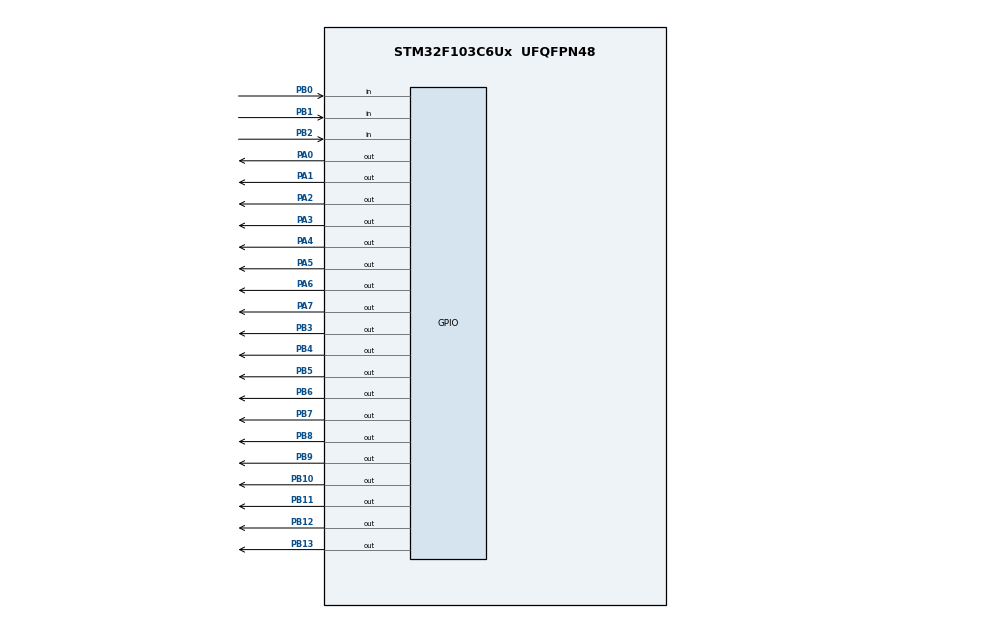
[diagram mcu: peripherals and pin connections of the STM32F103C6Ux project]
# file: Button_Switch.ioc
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Mcu.Family=STM32F1
Mcu.Name=STM32F103C6Ux
Mcu.Package=UFQFPN48
NVIC.PriorityGroup=NVIC_PRIORITYGROUP_4
NVIC.TIM2_IRQn=true\:0\:0\:false\:false\:true\:true\:true
PA0-WKUP.Signal=GPIO_Output
PA1.Signal=GPIO_Output
PA2.Signal=GPIO_Output
PA3.Signal=GPIO_Output
PA4.Signal=GPIO_Output
PA5.Signal=GPIO_Output
PA6.Signal=GPIO_Output
PA7.Signal=GPIO_Output
PB0.GPIO_PuPd=GPIO_PULLUP
PB0.Signal=GPIO_Input
PB1.GPIO_PuPd=GPIO_PULLUP
PB1.Signal=GPIO_Input
PB10.Signal=GPIO_Output
PB11.Signal=GPIO_Output
PB12.Signal=GPIO_Output
PB13.Signal=GPIO_Output
PB2.GPIO_PuPd=GPIO_PULLUP
PB2.Signal=GPIO_Input
PB3.Signal=GPIO_Output
PB4.Signal=GPIO_Output
PB5.Signal=GPIO_Output
PB6.Signal=GPIO_Output
PB7.Signal=GPIO_Output
PB8.Signal=GPIO_Output
PB9.Signal=GPIO_Output
ProjectManager.HeapSize=0x200
ProjectManager.StackSize=0x400
ProjectManager.TargetToolchain=STM32CubeIDE
RCC.APB1Freq_Value=8000000
RCC.APB2Freq_Value=8000000
TIM2.Period=9
TIM2.Prescaler=7999
VP_SYS_VS_ND.Mode=No_Debug
VP_TIM2_VS_ClockSourceINT.Mode=Internal
board=custom

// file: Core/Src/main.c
/* USER CODE BEGIN Header */
/**
  ******************************************************************************
  * @file           : main.c
  * @brief          : Main program body
  ******************************************************************************
  * @attention
  *
  * <h2><center>&copy; Copyright (c) 2026 STMicroelectronics.
  * All rights reserved.</center></h2>
  *
  * This software component is licensed by ST under BSD 3-Clause license,
  * the "License"; You may not use this file except in compliance with the
  * License. You may obtain a copy of the License at:
  *                        opensource.org/licenses/BSD-3-Clause
  *
  ******************************************************************************
  */
/* USER CODE END Header */
#include "main.h"

/* USER CODE BEGIN Includes */
#include "timer.h"
#include "input_processing.h"
#include "led_display.h"
/* USER CODE END Includes */

TIM_HandleTypeDef htim2;

void SystemClock_Config(void);
static void MX_GPIO_Init(void);
static void MX_TIM2_Init(void);

/* USER CODE BEGIN 0 */
int time_road1 = 5; // Ban đầu đường 1 đèn Đỏ (5s)
int time_road2 = 3; // Ban đầu đường 2 đèn Xanh (3s)
int status_road1 = 1; // 1: RED, 2: AMBER, 3: GREEN
int status_road2 = 3;
/* USER CODE END 0 */

int main(void)
{

  /* MCU Configuration--------------------------------------------------------*/

  /* Reset of all peripherals, Initializes the Flash interface and the Systick. */
  HAL_Init();

  /* Configure the system clock */
  SystemClock_Config();

  /* Initialize all configured peripherals */
  MX_GPIO_Init();
  MX_TIM2_Init();
  /* USER CODE BEGIN 2 */
  HAL_TIM_Base_Start_IT(&htim2);

    setTimer(0, 1000);
    setTimer(1, 250);
    setTimer(2, 50);
    int index_led = 0;
  /* USER CODE END 2 */

  /* Infinite loop */
  /* USER CODE BEGIN WHILE */
  while (1)
  {
	  fsm_for_input_processing();
	  	  	//Mode 1
	        if (system_mode == 1) {

	            led_buffer[0] = time_road1 / 10;
	            led_buffer[1] = time_road1 % 10;

	            led_buffer[2] = time_road2 / 10;
	            led_buffer[3] = time_road2 % 10;

	            if (timer_flag[0] == 1) {
	                setTimer(0, 1000);
	                time_road1--;
	                time_road2--;

	                if (time_road1 <= 0) {
	                    if (status_road1 == 1) { status_road1 = 3; time_road1 = green_duration; } // Đỏ -> Xanh
	                    else if (status_road1 == 3) { status_road1 = 2; time_road1 = amber_duration; } // Xanh -> Vàng
	                    else if (status_road1 == 2) { status_road1 = 1; time_road1 = red_duration; } // Vàng -> Đỏ
	                }
	                if (time_road2 <= 0) {
	                    if (status_road2 == 1) { status_road2 = 3; time_road2 = green_duration; }
	                    else if (status_road2 == 3) { status_road2 = 2; time_road2 = amber_duration; }
	                    else if (status_road2 == 2) { status_road2 = 1; time_road2 = red_duration; }
	                }

	                clearAllTrafficLights();
	                if (status_road1 == 1) HAL_GPIO_WritePin(GPIOA, GPIO_PIN_0, GPIO_PIN_SET);
	                if (status_road1 == 2) HAL_GPIO_WritePin(GPIOA, GPIO_PIN_1, GPIO_PIN_SET);
	                if (status_road1 == 3) HAL_GPIO_WritePin(GPIOA, GPIO_PIN_2, GPIO_PIN_SET);

	                if (status_road2 == 1) HAL_GPIO_WritePin(GPIOA, GPIO_PIN_3, GPIO_PIN_SET);
	                if (status_road2 == 2) HAL_GPIO_WritePin(GPIOA, GPIO_PIN_4, GPIO_PIN_SET);
	                if (status_road2 == 3) HAL_GPIO_WritePin(GPIOA, GPIO_PIN_5, GPIO_PIN_SET);
	            }
	        }
	        else {
	        	 //Mode 2
	             led_buffer[0] = 0;
	             led_buffer[1] = system_mode;

	             int display_val = 0;
	             if (system_mode == 2) display_val = temp_red;
	             if (system_mode == 3) display_val = temp_amber;
	             if (system_mode == 4) display_val = temp_green;

	             led_buffer[2] = display_val / 10;
	             led_buffer[3] = display_val % 10;

	             if (timer_flag[1] == 1) {
	                 setTimer(1, 250);
	                 if (system_mode == 2) toggleRedTrafficLights();
	                 if (system_mode == 3) toggleAmberTrafficLights();
	                 if (system_mode == 4) toggleGreenTrafficLights();
	             }
	        }
	        if (timer_flag[2] == 1) {
	            setTimer(2, 50);
	            update7SEG(index_led);
	            index_led++;
	            if (index_led > 3) index_led = 0;
	        }
    /* USER CODE END WHILE */

  }
}

void SystemClock_Config(void)
{
  RCC_OscInitTypeDef RCC_OscInitStruct = {0};
  RCC_ClkInitTypeDef RCC_ClkInitStruct = {0};

  /** Initializes the RCC Oscillators according to the specified parameters
  * in the RCC_OscInitTypeDef structure.
  */
  RCC_OscInitStruct.OscillatorType = RCC_OSCILLATORTYPE_HSI;
  RCC_OscInitStruct.HSIState = RCC_HSI_ON;
  RCC_OscInitStruct.HSICalibrationValue = RCC_HSICALIBRATION_DEFAULT;
  RCC_OscInitStruct.PLL.PLLState = RCC_PLL_NONE;
  if (HAL_RCC_OscConfig(&RCC_OscInitStruct) != HAL_OK)
  {
    Error_Handler();
  }
  /** Initializes the CPU, AHB and APB buses clocks
  */
  RCC_ClkInitStruct.ClockType = RCC_CLOCKTYPE_HCLK|RCC_CLOCKTYPE_SYSCLK
                              |RCC_CLOCKTYPE_PCLK1|RCC_CLOCKTYPE_PCLK2;
  RCC_ClkInitStruct.SYSCLKSource = RCC_SYSCLKSOURCE_HSI;
  RCC_ClkInitStruct.AHBCLKDivider = RCC_SYSCLK_DIV1;
  RCC_ClkInitStruct.APB1CLKDivider = RCC_HCLK_DIV1;
  RCC_ClkInitStruct.APB2CLKDivider = RCC_HCLK_DIV1;

  if (HAL_RCC_ClockConfig(&RCC_ClkInitStruct, FLASH_LATENCY_0) != HAL_OK)
  {
    Error_Handler();
  }
}

static void MX_TIM2_Init(void)
{

  TIM_ClockConfigTypeDef sClockSourceConfig = {0};
  TIM_MasterConfigTypeDef sMasterConfig = {0};

  htim2.Instance = TIM2;
  htim2.Init.Prescaler = 7999;
  htim2.Init.CounterMode = TIM_COUNTERMODE_UP;
  htim2.Init.Period = 9;
  htim2.Init.ClockDivision = TIM_CLOCKDIVISION_DIV1;
  htim2.Init.AutoReloadPreload = TIM_AUTORELOAD_PRELOAD_DISABLE;
  if (HAL_TIM_Base_Init(&htim2) != HAL_OK)
  {
    Error_Handler();
  }
  sClockSourceConfig.ClockSource = TIM_CLOCKSOURCE_INTERNAL;
  if (HAL_TIM_ConfigClockSource(&htim2, &sClockSourceConfig) != HAL_OK)
  {
    Error_Handler();
  }
  sMasterConfig.MasterOutputTrigger = TIM_TRGO_RESET;
  sMasterConfig.MasterSlaveMode = TIM_MASTERSLAVEMODE_DISABLE;
  if (HAL_TIMEx_MasterConfigSynchronization(&htim2, &sMasterConfig) != HAL_OK)
  {
    Error_Handler();
  }

}

static void MX_GPIO_Init(void)
{
  GPIO_InitTypeDef GPIO_InitStruct = {0};

  /* GPIO Ports Clock Enable */
  __HAL_RCC_GPIOA_CLK_ENABLE();
  __HAL_RCC_GPIOB_CLK_ENABLE();

  /*Configure GPIO pin Output Level */
  HAL_GPIO_WritePin(GPIOA, GPIO_PIN_0|GPIO_PIN_1|GPIO_PIN_2|GPIO_PIN_3
                          |GPIO_PIN_4|GPIO_PIN_5|GPIO_PIN_6|GPIO_PIN_7, GPIO_PIN_RESET);

  /*Configure GPIO pin Output Level */
  HAL_GPIO_WritePin(GPIOB, GPIO_PIN_10|GPIO_PIN_11|GPIO_PIN_12|GPIO_PIN_13
                          |GPIO_PIN_3|GPIO_PIN_4|GPIO_PIN_5|GPIO_PIN_6
                          |GPIO_PIN_7|GPIO_PIN_8|GPIO_PIN_9, GPIO_PIN_RESET);

  /*Configure GPIO pins : PA0 PA1 PA2 PA3
                           PA4 PA5 PA6 PA7 */
  GPIO_InitStruct.Pin = GPIO_PIN_0|GPIO_PIN_1|GPIO_PIN_2|GPIO_PIN_3
                          |GPIO_PIN_4|GPIO_PIN_5|GPIO_PIN_6|GPIO_PIN_7;
  GPIO_InitStruct.Mode = GPIO_MODE_OUTPUT_PP;
  GPIO_InitStruct.Pull = GPIO_NOPULL;
  GPIO_InitStruct.Speed = GPIO_SPEED_FREQ_LOW;
  HAL_GPIO_Init(GPIOA, &GPIO_InitStruct);

  /*Configure GPIO pins : PB0 PB1 PB2 */
  GPIO_InitStruct.Pin = GPIO_PIN_0|GPIO_PIN_1|GPIO_PIN_2;
  GPIO_InitStruct.Mode = GPIO_MODE_INPUT;
  GPIO_InitStruct.Pull = GPIO_PULLUP;
  HAL_GPIO_Init(GPIOB, &GPIO_InitStruct);

  /*Configure GPIO pins : PB10 PB11 PB12 PB13
                           PB3 PB4 PB5 PB6
                           PB7 PB8 PB9 */
  GPIO_InitStruct.Pin = GPIO_PIN_10|GPIO_PIN_11|GPIO_PIN_12|GPIO_PIN_13
                          |GPIO_PIN_3|GPIO_PIN_4|GPIO_PIN_5|GPIO_PIN_6
                          |GPIO_PIN_7|GPIO_PIN_8|GPIO_PIN_9;
  GPIO_InitStruct.Mode = GPIO_MODE_OUTPUT_PP;
  GPIO_InitStruct.Pull = GPIO_NOPULL;
  GPIO_InitStruct.Speed = GPIO_SPEED_FREQ_LOW;
  HAL_GPIO_Init(GPIOB, &GPIO_InitStruct);

}

void Error_Handler(void)
{
  __disable_irq();
  while (1)
  {
  }
}

/************************ (C) COPYRIGHT STMicroelectronics *****END OF FILE****/
